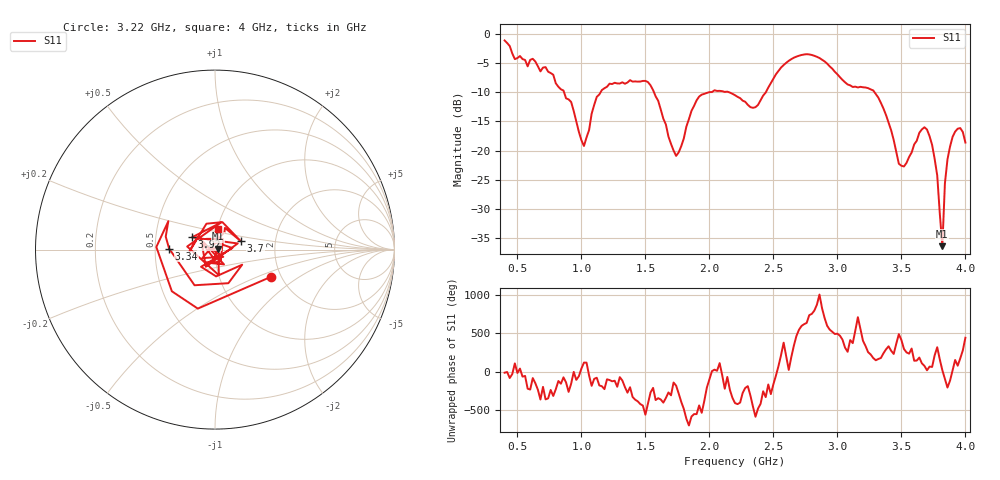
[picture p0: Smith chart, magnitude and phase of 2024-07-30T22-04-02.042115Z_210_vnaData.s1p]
!Created with skrf (http://scikit-rf.org).
# Hz S RI R 50.0
!freq ReS11 ImS11
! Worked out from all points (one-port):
!   181 points, 400 MHz to 4 GHz, reference 50 ohm
!   lowest |S11| = -36.3 dB at 3.82 GHz (marker M1), VSWR 1.03, Z = 51.5 + j0.487 ohm
!   |S11| at or under -10 dB: 1.567 GHz to 1.999 GHz (431.9 MHz wide, 24.2 % of centre); 2.152 GHz to 2.441 GHz (289.8 MHz wide, 12.6 % of centre); 3.289 GHz to end of sweep (the widest 3 of 4)
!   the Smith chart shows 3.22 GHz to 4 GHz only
!   S11 on the Smith chart (normalised r, x): 3.22 GHz: 1.77, -0.61; 3.34 GHz: 0.59, +0.01; 3.7 GHz: 1.33, +0.13; 3.92 GHz: 0.77, +0.11; 4 GHz: 1.00, +0.24
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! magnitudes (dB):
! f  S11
! 400 MHz  -1.2
! 480 MHz  -4.3
! 620 MHz  -4.3
! 860 MHz  -9.7
! 920 MHz  -11.7
! 1.02 GHz  -19.2
! 1.12 GHz  -10.8
! 1.3 GHz  -8.5
! 1.52 GHz  -8.3
! 1.72 GHz  -20.0
! 1.76 GHz  -20.3
! 1.92 GHz  -10.7
! 2.2 GHz  -10.5
! 2.36 GHz  -12.6
! 2.66 GHz  -4.1
! 2.86 GHz  -4.2
! 3.1 GHz  -8.8
! 3.22 GHz  -9.2
! 3.34 GHz  -11.8
! 3.48 GHz  -22.2
! 3.56 GHz  -21.1
! 3.7 GHz  -16.4
! 3.78 GHz  -24.2
! 3.82 GHz  -36.3
! 3.84 GHz  -25.6
! 3.86 GHz  -21.5
! 3.92 GHz  -16.7
! 4 GHz  -18.6
